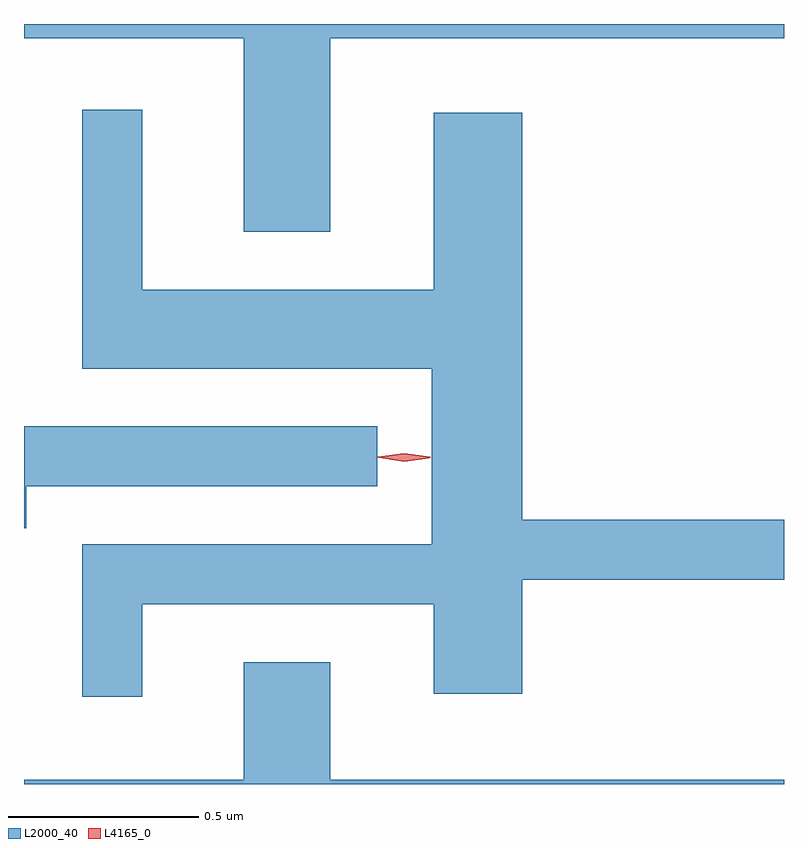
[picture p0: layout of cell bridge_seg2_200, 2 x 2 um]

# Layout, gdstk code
import gdstk
lib = gdstk.Library(unit=1e-6, precision=1e-09)
def P(c, l, *ps):  # polygons
    for p in ps: c.add(gdstk.Polygon(p, *l))
L2000_40 = (2000, 40)
L4165_0 = (4165, 0)

bridge_seg2_200 = lib.new_cell('bridge_seg2_200')
P(bridge_seg2_200, L2000_40, [(676.749,1003.916),(677.943,1003.916),(677.943,1003.953),(675.943,1003.953),(675.943,1003.916),(676.521,1003.916),(676.521,1003.406),(676.749,1003.406)],
  [(676.254,1002.426),(677.021,1002.426),(677.021,1002.191),(677.254,1002.191),(677.254,1002.491),(677.943,1002.491),(677.943,1002.649),(677.254,1002.649),(677.254,1003.719),(677.021,1003.719),(677.021,1003.254),(676.254,1003.254),(676.254,1003.728),(676.096,1003.728),(676.096,1003.046),(677.016,1003.046),(677.016,1002.584),(676.096,1002.584),(676.096,1002.183),(676.254,1002.183)],
  [(675.949,1002.736),(676.873,1002.736),(676.873,1002.894),(675.943,1002.894),(675.943,1002.626),(675.949,1002.626)],
  [(677.943,1001.964),(676.749,1001.964),(676.749,1002.274),(676.521,1002.274),(676.521,1001.964),(675.943,1001.964),(675.943,1001.953),(677.943,1001.953)])
P(bridge_seg2_200, L4165_0, [(676.943,1002.801),(676.878,1002.811),(676.877,1002.811),(676.878,1002.812),(676.943,1002.821),(677.009,1002.811),(677.009,1002.811),(677.009,1002.81)],
  [(676.943,1002.803),(676.874,1002.813),(676.874,1002.813),(676.874,1002.814),(676.943,1002.823),(677.012,1002.814),(677.013,1002.813),(677.012,1002.813)])

lib.write_gds('bridge_seg2_200.gds')
